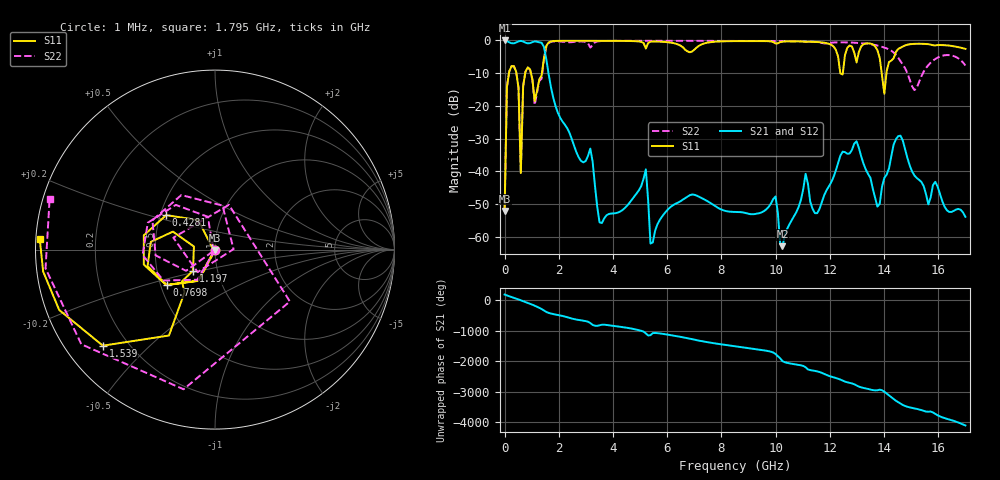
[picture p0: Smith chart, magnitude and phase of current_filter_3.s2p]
# GHz S RI R 50
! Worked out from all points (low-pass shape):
!   200 points, 1 MHz to 17 GHz, reference 50 ohm
!   highest |S21| = -0.01 dB at 1 MHz (marker M1); lowest = -62.8 dB at 10.25 GHz (marker M2)
!   |S21| within 3 dB of the highest: start of sweep to 1.477 GHz
!   lowest |S11| = -52.1 dB at 1 MHz (marker M3), VSWR 1.01, Z = 50.1 - j0.235 ohm
!   |S11| at or under -10 dB: 435.8 MHz to 761.2 MHz (325.4 MHz wide, 54.4 % of centre); 972.8 MHz to 1.378 GHz (405.4 MHz wide, 34.5 % of centre); 13.91 GHz to 14.09 GHz (175.1 MHz wide, 1.25 % of centre)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
!   |S22| runs from -52.1 to -0.1 dB; largest |S21 - S12| = 3.5e-13
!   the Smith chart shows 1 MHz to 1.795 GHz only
!   S11 on the Smith chart (normalised r, x): 1 MHz: 1.00, -0.00; 428.1 MHz: 0.54, +0.23; 769.8 MHz: 0.54, -0.24; 1.197 GHz: 0.76, -0.18; 1.539 GHz: 0.11, -0.37; 1.795 GHz: 0.01, +0.03
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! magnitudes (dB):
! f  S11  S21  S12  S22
! 1 MHz  -52.1  0.0  0.0  -52.1
! 86.42 MHz  -14.2  -0.2  -0.2  -14.2
! 428.1 MHz  -9.6  -0.6  -0.6  -9.6
! 599 MHz  -40.5  -0.1  -0.1  -40.5
! 769.8 MHz  -9.6  -0.7  -0.7  -9.6
! 1.197 GHz  -15.4  -0.4  -0.4  -16.0
! 1.539 GHz  -1.7  -5.7  -5.7  -2.0
! 1.795 GHz  -0.2  -17.5  -17.5  -0.3
! 2.905 GHz  -0.1  -37.2  -37.2  -0.3
! 3.503 GHz  -0.1  -55.6  -55.6  -0.2
! 5.212 GHz  -2.5  -39.4  -39.4  -0.1
! 5.383 GHz  -0.4  -62.0  -62.0  -0.1
! 5.724 GHz  -0.4  -54.8  -54.8  -0.1
! 8.543 GHz  -0.2  -52.4  -52.4  -0.2
! 9.995 GHz  -0.9  -47.7  -47.7  -0.2
! 10.25 GHz  -0.4  -62.8  -62.8  -0.2
! 11.11 GHz  -0.4  -40.7  -40.7  -0.3
! 11.36 GHz  -0.4  -51.4  -51.4  -0.4
! 12.99 GHz  -6.7  -30.8  -30.8  -0.7
! 13.75 GHz  -3.0  -50.8  -50.8  -1.5
! 14.18 GHz  -6.6  -39.1  -39.1  -2.7
! 17 GHz  -2.6  -53.9  -53.9  -7.7
